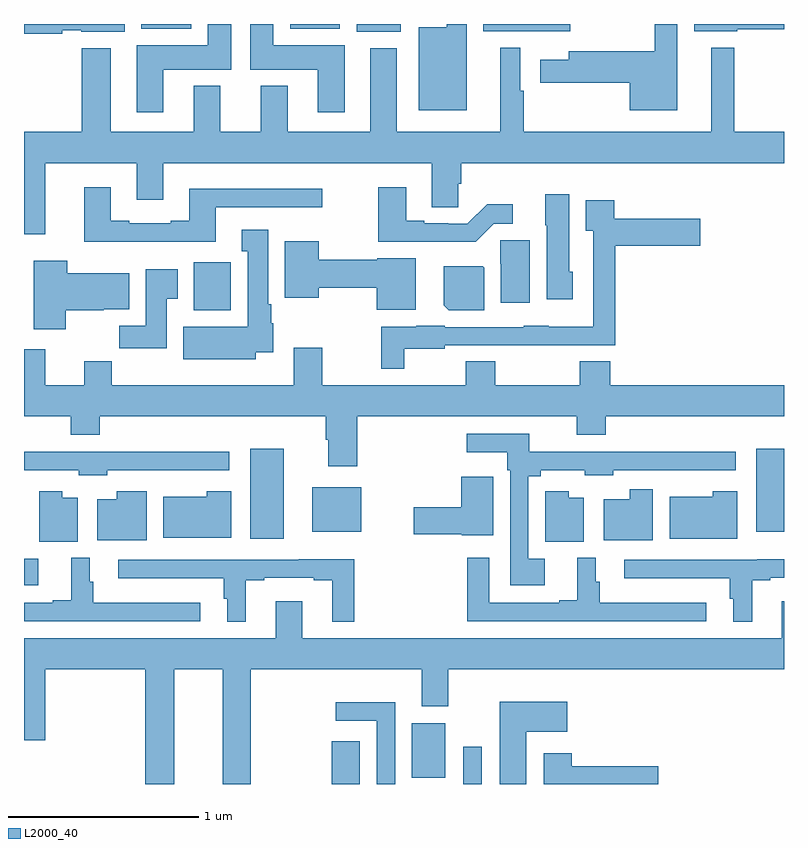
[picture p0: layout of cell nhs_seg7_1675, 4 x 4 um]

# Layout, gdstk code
import gdstk
lib = gdstk.Library(unit=1e-6, precision=1e-09)
def R(c, l, rs):  # rectangles x0, y0, x1, y1
    for r in rs: c.add(gdstk.rectangle(r[:2], r[2:], *l))
def P(c, l, *ps):  # polygons
    for p in ps: c.add(gdstk.Polygon(p, *l))
L2000_40 = (2000, 40)

nhs_seg7_1675 = lib.new_cell('nhs_seg7_1675')
R(nhs_seg7_1675, L2000_40, [(226.621,1012,226.768,1012.225), (227.313,1012,227.409,1012.195), (227.042,1012.034,227.218,1012.321), (225,1013.045,225.076,1013.185), (226.19,1013.291,226.366,1013.764), (226.517,1013.327,226.774,1013.563), (228.854,1013.327,229,1013.764), (225.893,1014.494,226.089,1014.745), (226.751,1015.958,226.984,1016), (227.417,1015.961,227.875,1016), (225.617,1015.976,225.88,1016), (226.4,1015.976,226.663,1016)])
P(nhs_seg7_1675, L2000_40, [(228.439,1016),(228.32,1016),(228.32,1015.856),(227.867,1015.856),(227.867,1015.813),(227.718,1015.813),(227.718,1015.691),(228.188,1015.691),(228.188,1015.547),(228.439,1015.547)],
  [(226.687,1015.888),(226.312,1015.888),(226.312,1016),(226.19,1016),(226.19,1015.76),(226.547,1015.76),(226.547,1015.536),(226.687,1015.536)],
  [(227.329,1016),(227.225,1016),(227.225,1015.984),(227.078,1015.984),(227.078,1015.547),(227.329,1015.547)],
  [(225.2,1015.968),(225.3,1015.968),(225.3,1015.958),(225.529,1015.958),(225.529,1016),(225,1016),(225,1015.948),(225.2,1015.948)],
  [(225.733,1015.76),(226.09,1015.76),(226.09,1016),(225.968,1016),(225.968,1015.888),(225.593,1015.888),(225.593,1015.536),(225.733,1015.536)],
  [(228.754,1015.972),(229,1015.972),(229,1016),(228.527,1016),(228.527,1015.961),(228.754,1015.961)],
  [(225.112,1015.268),(225.593,1015.268),(225.593,1015.074),(225.733,1015.074),(225.733,1015.268),(227.147,1015.268),(227.147,1015.036),(227.286,1015.036),(227.286,1015.158),(227.3,1015.158),(227.3,1015.268),(229,1015.268),(229,1015.432),(228.739,1015.432),(228.739,1015.876),(228.617,1015.876),(228.617,1015.432),(227.629,1015.432),(227.629,1015.649),(227.611,1015.649),(227.611,1015.876),(227.507,1015.876),(227.507,1015.432),(226.963,1015.432),(226.963,1015.873),(226.823,1015.873),(226.823,1015.432),(226.387,1015.432),(226.387,1015.675),(226.247,1015.675),(226.247,1015.432),(226.033,1015.432),(226.033,1015.675),(225.893,1015.675),(225.893,1015.432),(225.457,1015.432),(225.457,1015.873),(225.305,1015.873),(225.305,1015.432),(225,1015.432),(225,1014.894),(225.112,1014.894)],
  [(227.472,1014.948),(227.572,1014.948),(227.572,1015.051),(227.437,1015.051),(227.334,1014.948),(227.234,1014.948),(227.234,1014.951),(227.107,1014.951),(227.107,1014.964),(227.011,1014.964),(227.011,1015.141),(226.864,1015.141),(226.864,1014.854),(227.377,1014.854)],
  [(226.009,1015.035),(226.57,1015.035),(226.57,1015.132),(225.869,1015.132),(225.869,1014.964),(225.773,1014.964),(225.773,1014.951),(225.553,1014.951),(225.553,1014.964),(225.457,1014.964),(225.457,1015.141),(225.317,1015.141),(225.317,1014.854),(226.009,1014.854)],
  [(227.887,1014.696),(227.869,1014.696),(227.869,1015.105),(227.744,1015.105),(227.744,1014.942),(227.75,1014.942),(227.75,1014.552),(227.887,1014.552)],
  [(227.002,1014.29),(227.214,1014.29),(227.214,1014.309),(227.631,1014.309),(227.631,1014.308),(227.863,1014.308),(227.863,1014.309),(228.113,1014.309),(228.113,1014.833),(228.559,1014.833),(228.559,1014.975),(228.106,1014.975),(228.106,1015.072),(227.957,1015.072),(227.957,1014.911),(227.997,1014.911),(227.997,1014.406),(227.763,1014.406),(227.763,1014.412),(227.631,1014.412),(227.631,1014.405),(227.214,1014.405),(227.214,1014.412),(227.064,1014.412),(227.064,1014.406),(226.881,1014.406),(226.881,1014.185),(227.002,1014.185)],
  [(226.219,1014.272),(226.312,1014.272),(226.312,1014.426),(226.3,1014.426),(226.3,1014.526),(226.285,1014.526),(226.285,1014.916),(226.145,1014.916),(226.145,1014.803),(226.178,1014.803),(226.178,1014.406),(225.839,1014.406),(225.839,1014.236),(226.219,1014.236)],
  [(227.662,1014.861),(227.506,1014.861),(227.506,1014.738),(227.51,1014.738),(227.51,1014.534),(227.662,1014.534)],
  [(227.062,1014.766),(226.86,1014.766),(226.86,1014.758),(226.552,1014.758),(226.552,1014.856),(226.373,1014.856),(226.373,1014.56),(226.552,1014.56),(226.552,1014.611),(226.856,1014.611),(226.856,1014.497),(227.062,1014.497)],
  [(225.22,1014.494),(225.42,1014.494),(225.42,1014.5),(225.553,1014.5),(225.553,1014.688),(225.228,1014.688),(225.228,1014.754),(225.05,1014.754),(225.05,1014.393),(225.22,1014.393)],
  [(227.422,1014.716),(227.414,1014.724),(227.21,1014.724),(227.21,1014.52),(227.236,1014.494),(227.422,1014.494)],
  [(225.751,1014.553),(225.808,1014.553),(225.808,1014.709),(225.641,1014.709),(225.641,1014.412),(225.502,1014.412),(225.502,1014.294),(225.751,1014.294)],
  [(225,1014.289),(225,1013.936),(225.245,1013.936),(225.245,1013.837),(225.398,1013.837),(225.398,1013.936),(226.589,1013.936),(226.589,1013.813),(226.601,1013.813),(226.601,1013.673),(226.754,1013.673),(226.754,1013.936),(227.909,1013.936),(227.909,1013.837),(228.062,1013.837),(228.062,1013.936),(229,1013.936),(229,1014.1),(228.086,1014.1),(228.086,1014.224),(227.926,1014.224),(227.926,1014.1),(227.481,1014.1),(227.481,1014.224),(227.326,1014.224),(227.326,1014.1),(226.569,1014.1),(226.569,1014.295),(226.421,1014.295),(226.421,1014.1),(225.461,1014.1),(225.461,1014.224),(225.317,1014.224),(225.317,1014.1),(225.112,1014.1),(225.112,1014.289)],
  [(227.74,1013.185),(227.655,1013.185),(227.655,1013.62),(227.721,1013.62),(227.721,1013.652),(227.952,1013.652),(227.952,1013.624),(228.102,1013.624),(228.102,1013.652),(228.406,1013.652),(228.406,1013.651),(228.745,1013.651),(228.745,1013.75),(227.658,1013.75),(227.658,1013.844),(227.331,1013.844),(227.331,1013.747),(227.543,1013.747),(227.543,1013.651),(227.559,1013.651),(227.559,1013.045),(227.74,1013.045)],
  [(225.438,1013.652),(225.742,1013.652),(225.742,1013.651),(226.081,1013.651),(226.081,1013.75),(225,1013.75),(225,1013.652),(225.288,1013.652),(225.288,1013.624),(225.438,1013.624)],
  [(227.47,1013.513),(227.469,1013.513),(227.469,1013.616),(227.3,1013.616),(227.3,1013.457),(227.052,1013.457),(227.052,1013.315),(227.304,1013.315),(227.304,1013.309),(227.47,1013.309)],
  [(228.31,1013.551),(228.188,1013.551),(228.188,1013.5),(228.05,1013.5),(228.05,1013.282),(228.31,1013.282)],
  [(225.283,1013.506),(225.202,1013.506),(225.202,1013.542),(225.08,1013.542),(225.08,1013.276),(225.283,1013.276)],
  [(228.754,1013.542),(228.625,1013.542),(228.625,1013.512),(228.398,1013.512),(228.398,1013.291),(228.754,1013.291)],
  [(225.646,1013.542),(225.489,1013.542),(225.489,1013.5),(225.386,1013.5),(225.386,1013.282),(225.646,1013.282)],
  [(226.09,1013.542),(225.961,1013.542),(225.961,1013.512),(225.734,1013.512),(225.734,1013.297),(226.09,1013.297)],
  [(227.947,1013.506),(227.866,1013.506),(227.866,1013.542),(227.744,1013.542),(227.744,1013.276),(227.947,1013.276)],
  [(228.592,1012.954),(228.029,1012.954),(228.029,1013.064),(228.01,1013.064),(228.01,1013.191),(227.912,1013.191),(227.912,1012.966),(227.816,1012.966),(227.816,1012.953),(227.448,1012.953),(227.448,1013.191),(227.332,1013.191),(227.332,1012.857),(228.592,1012.857)],
  [(225.928,1012.954),(225.365,1012.954),(225.365,1013.064),(225.346,1013.064),(225.346,1013.191),(225.248,1013.191),(225.248,1012.966),(225.152,1012.966),(225.152,1012.953),(225,1012.953),(225,1012.857),(225.928,1012.857)],
  [(226.168,1013.073),(226.264,1013.073),(226.264,1013.085),(226.526,1013.085),(226.526,1013.073),(226.622,1013.073),(226.622,1012.853),(226.739,1012.853),(226.739,1013.182),(226.447,1013.182),(226.447,1013.181),(225.495,1013.181),(225.495,1013.084),(226.051,1013.084),(226.051,1012.974),(226.07,1012.974),(226.07,1012.853),(226.168,1012.853)],
  [(228.832,1013.073),(228.928,1013.073),(228.928,1013.085),(229,1013.085),(229,1013.182),(228.858,1013.182),(228.858,1013.181),(228.159,1013.181),(228.159,1013.084),(228.715,1013.084),(228.715,1012.974),(228.734,1012.974),(228.734,1012.853),(228.832,1012.853)],
  [(225.79,1012.604),(226.046,1012.604),(226.046,1012),(226.194,1012),(226.194,1012.604),(227.093,1012.604),(227.093,1012.41),(227.233,1012.41),(227.233,1012.604),(229,1012.604),(229,1012.963),(228.989,1012.963),(228.989,1012.768),(226.465,1012.768),(226.465,1012.963),(226.325,1012.963),(226.325,1012.768),(225,1012.768),(225,1012.23),(225.112,1012.23),(225.112,1012.604),(225.638,1012.604),(225.638,1012),(225.79,1012)],
  [(227.644,1012.274),(227.86,1012.274),(227.86,1012.432),(227.504,1012.432),(227.504,1012),(227.644,1012)],
  [(226.953,1012.429),(226.641,1012.429),(226.641,1012.332),(226.857,1012.332),(226.857,1012),(226.953,1012)],
  [(228.337,1012.094),(227.882,1012.094),(227.882,1012.162),(227.735,1012.162),(227.735,1012),(228.337,1012)])

lib.write_gds('nhs_seg7_1675.gds')
